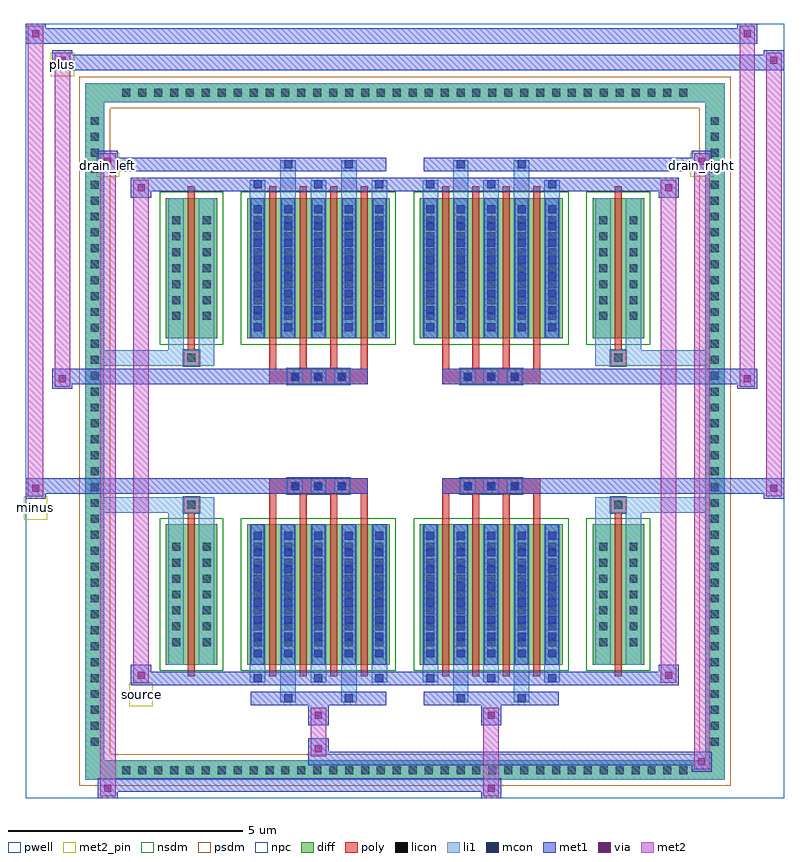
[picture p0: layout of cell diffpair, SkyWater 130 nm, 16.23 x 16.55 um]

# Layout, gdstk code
import gdstk
lib = gdstk.Library(unit=1e-6, precision=5e-09)
def R(c, l, rs):  # rectangles x0, y0, x1, y1
    for r in rs: c.add(gdstk.rectangle(r[:2], r[2:], *l))
def A(c, l, x, y, w, h, nx, ny, dx, dy):  # array of equal rectangles
    R(c, l, [(x+i*dx, y+j*dy, x+i*dx+w, y+j*dy+h) for i in range(nx) for j in range(ny)])
def P(c, l, *ps):  # polygons
    for p in ps: c.add(gdstk.Polygon(p, *l))
pwell = (64, 44)
diff = (65, 20)
poly = (66, 20)
licon = (66, 44)
li1 = (67, 20)
mcon = (67, 44)
met1 = (68, 20)
via = (68, 44)
met2_pin = (69, 16)
met2 = (69, 20)
nsdm = (93, 44)
psdm = (94, 20)
npc = (95, 20)

diffpair = lib.new_cell('diffpair')
R(diffpair, pwell, [(-8.1,-7.84,8.1,8.71), (-5.42,-6.03,-0.01,-0.805), (0.01,-6.03,5.42,-0.805), (-5.42,0.805,-0.01,6.03), (0.01,0.805,5.42,6.03)])
A(diffpair, diff, -6.155, -7.44, 0.41, 0.41, 36, 2, 0.34, 14.47)
A(diffpair, diff, -6.83, -6.835, 0.41, 0.41, 1, 40, 0, 0.34)
A(diffpair, diff, 6.42, -6.835, 0.41, 0.41, 1, 40, 0, 0.34)
R(diffpair, diff, [(-6.155,-7.44,6.155,-7.03), (-6.83,-6.835,-6.42,6.835), (6.42,-6.835,6.83,6.835), (-5.11,-4.985,-4.01,-1.985), (-3.37,-4.985,-0.32,-1.985), (0.32,-4.985,3.37,-1.985), (4.01,-4.985,5.11,-1.985), (-5.11,1.985,-4.01,4.985), (-3.37,1.985,-0.32,4.985), (0.32,1.985,3.37,4.985), (4.01,1.985,5.11,4.985), (-6.155,7.03,6.155,7.44)])
P(diffpair, diff, [(6.83,7.44),(-6.83,7.44),(-6.83,-7.03),(-6.42,-7.03),(-6.42,7.03),(6.42,7.03),(6.42,-7.03),(-6.42,-7.03),(-6.83,-7.03),(-6.83,-7.44),(6.83,-7.44)])
A(diffpair, poly, -2.895, -5.235, 0.15, 3.5, 4, 2, 0.65, 6.97)
A(diffpair, poly, 0.795, -5.235, 0.15, 3.5, 4, 2, 0.65, 6.97)
A(diffpair, poly, -2.895, -1.735, 0.15, 0.4, 4, 2, 0.65, 3.07)
A(diffpair, poly, 0.795, -1.735, 0.15, 0.4, 4, 2, 0.65, 3.07)
A(diffpair, poly, -2.51, -1.335, 0.33, 0.33, 3, 2, 0.5, 2.34)
A(diffpair, poly, 1.18, -1.335, 0.33, 0.33, 3, 2, 0.5, 2.34)
R(diffpair, poly, [(-4.635,-5.235,-4.485,-1.735), (4.485,-5.235,4.635,-1.735), (-4.725,-1.735,-4.395,-1.405), (-4.725,-1.735,-4.395,-1.405), (4.395,-1.735,4.725,-1.405), (4.395,-1.735,4.725,-1.405), (-2.895,-1.335,-0.795,-1.005), (0.795,-1.335,2.895,-1.005), (-2.895,1.005,-0.795,1.335), (0.795,1.005,2.895,1.335), (-4.725,1.405,-4.395,1.735), (-4.725,1.405,-4.395,1.735), (4.395,1.405,4.725,1.735), (4.395,1.405,4.725,1.735), (-4.635,1.735,-4.485,5.235), (4.485,1.735,4.635,5.235)])
A(diffpair, licon, -6.035, -7.32, 0.17, 0.17, 36, 2, 0.34, 14.47)
A(diffpair, licon, -6.71, -6.715, 0.17, 0.17, 1, 40, 0, 0.34)
A(diffpair, licon, 6.54, -6.715, 0.17, 0.17, 1, 40, 0, 0.34)
A(diffpair, licon, -4.97, -4.59, 0.17, 0.17, 1, 7, 0, 0.34)
A(diffpair, licon, -4.32, -4.59, 0.17, 0.17, 1, 7, 0, 0.34)
A(diffpair, licon, -3.23, -4.59, 0.17, 0.17, 5, 7, 0.65, 0.34)
A(diffpair, licon, 0.46, -4.59, 0.17, 0.17, 5, 7, 0.65, 0.34)
A(diffpair, licon, 4.15, -4.59, 0.17, 0.17, 1, 7, 0, 0.34)
A(diffpair, licon, 4.8, -4.59, 0.17, 0.17, 1, 7, 0, 0.34)
A(diffpair, licon, -2.43, -1.255, 0.17, 0.17, 3, 2, 0.5, 2.34)
A(diffpair, licon, 1.26, -1.255, 0.17, 0.17, 3, 2, 0.5, 2.34)
A(diffpair, licon, -4.97, 2.38, 0.17, 0.17, 1, 7, 0, 0.34)
A(diffpair, licon, -4.32, 2.38, 0.17, 0.17, 1, 7, 0, 0.34)
A(diffpair, licon, -3.23, 2.38, 0.17, 0.17, 5, 7, 0.65, 0.34)
A(diffpair, licon, 0.46, 2.38, 0.17, 0.17, 5, 7, 0.65, 0.34)
A(diffpair, licon, 4.15, 2.38, 0.17, 0.17, 1, 7, 0, 0.34)
A(diffpair, licon, 4.8, 2.38, 0.17, 0.17, 1, 7, 0, 0.34)
R(diffpair, licon, [(-4.645,-1.655,-4.475,-1.485), (4.475,-1.655,4.645,-1.485), (-4.645,1.485,-4.475,1.655), (4.475,1.485,4.645,1.655)])
A(diffpair, li1, -6.115, -7.4, 0.33, 0.33, 36, 2, 0.34, 14.47)
A(diffpair, li1, -6.79, -6.795, 0.33, 0.33, 1, 40, 0, 0.34)
A(diffpair, li1, 6.46, -6.795, 0.33, 0.33, 1, 40, 0, 0.34)
A(diffpair, li1, -3.31, -5.36, 0.33, 0.375, 3, 2, 1.3, 10.345)
A(diffpair, li1, -3.23, -5.36, 0.17, 0.17, 3, 2, 1.3, 10.55)
A(diffpair, li1, 0.38, -5.36, 0.33, 0.375, 3, 2, 1.3, 10.345)
A(diffpair, li1, 0.46, -5.36, 0.17, 0.17, 3, 2, 1.3, 10.55)
A(diffpair, li1, -3.31, -4.985, 0.33, 3, 5, 2, 0.65, 6.97)
A(diffpair, li1, 0.38, -4.985, 0.33, 3, 5, 2, 0.65, 6.97)
A(diffpair, li1, -3.23, -4.83, 0.17, 0.17, 5, 8, 0.65, 0.36)
A(diffpair, li1, -3.23, -4.83, 0.17, 2.69, 5, 2, 0.65, 6.97)
A(diffpair, li1, 0.46, -4.83, 0.17, 0.17, 5, 8, 0.65, 0.36)
A(diffpair, li1, 0.46, -4.83, 0.17, 2.69, 5, 2, 0.65, 6.97)
A(diffpair, li1, -5.05, -4.67, 0.33, 0.33, 1, 7, 0, 0.34)
A(diffpair, li1, -4.4, -4.67, 0.33, 0.33, 1, 7, 0, 0.34)
A(diffpair, li1, -3.31, -4.67, 0.33, 0.33, 5, 7, 0.65, 0.34)
A(diffpair, li1, 0.38, -4.67, 0.33, 0.33, 5, 7, 0.65, 0.34)
A(diffpair, li1, 4.07, -4.67, 0.33, 0.33, 1, 7, 0, 0.34)
A(diffpair, li1, 4.72, -4.67, 0.33, 0.33, 1, 7, 0, 0.34)
A(diffpair, li1, -2.51, -1.335, 0.33, 0.33, 3, 2, 0.5, 2.34)
A(diffpair, li1, 1.18, -1.335, 0.33, 0.33, 3, 2, 0.5, 2.34)
A(diffpair, li1, -3.23, 2.14, 0.17, 0.17, 5, 8, 0.65, 0.36)
A(diffpair, li1, 0.46, 2.14, 0.17, 0.17, 5, 8, 0.65, 0.36)
A(diffpair, li1, -5.05, 2.3, 0.33, 0.33, 1, 7, 0, 0.34)
A(diffpair, li1, -4.4, 2.3, 0.33, 0.33, 1, 7, 0, 0.34)
A(diffpair, li1, -3.31, 2.3, 0.33, 0.33, 5, 7, 0.65, 0.34)
A(diffpair, li1, 0.38, 2.3, 0.33, 0.33, 5, 7, 0.65, 0.34)
A(diffpair, li1, 4.07, 2.3, 0.33, 0.33, 1, 7, 0, 0.34)
A(diffpair, li1, 4.72, 2.3, 0.33, 0.33, 1, 7, 0, 0.34)
R(diffpair, li1, [(-6.83,-7.44,-6.42,-7.03), (-6.83,-7.44,-6.42,-7.03), (-6.42,-7.44,6.42,-7.03), (6.42,-7.44,6.83,-7.03), (6.42,-7.44,6.83,-7.03), (-6.83,-7.03,-6.42,7.03), (6.42,-7.03,6.83,7.03), (-2.66,-5.79,-2.33,-4.985), (-2.58,-5.79,-2.41,-5.62), (-1.36,-5.79,-1.03,-4.985), (-1.28,-5.79,-1.11,-5.62), (1.03,-5.79,1.36,-4.985), (1.11,-5.79,1.28,-5.62), (2.33,-5.79,2.66,-4.985), (2.41,-5.79,2.58,-5.62), (-5.05,-4.985,-4.72,-1.985), (-4.4,-4.985,-4.07,-1.985), (4.07,-4.985,4.4,-1.985), (4.72,-4.985,5.05,-1.985), (-5.05,-1.985,-4.72,-1.405), (-4.4,-1.985,-4.07,-1.405), (4.07,-1.985,4.4,-1.405), (4.72,-1.985,5.05,-1.405), (-6.83,-1.735,-4.725,-1.405), (-5.05,-1.735,-4.725,-1.405), (-4.725,-1.735,-4.395,-1.405), (-4.395,-1.735,-4.07,-1.405), (4.07,-1.735,4.395,-1.405), (4.395,-1.735,4.725,-1.405), (4.395,-1.735,6.83,-1.405), (4.725,-1.735,5.05,-1.405), (-6.83,1.405,-4.725,1.735), (-5.05,1.405,-4.725,1.735), (-5.05,1.405,-4.72,1.985), (-4.725,1.405,-4.395,1.735), (-4.4,1.405,-4.07,1.985), (-4.395,1.405,-4.07,1.735), (4.07,1.405,4.395,1.735), (4.07,1.405,4.4,1.985), (4.395,1.405,4.725,1.735), (4.395,1.405,6.83,1.735), (4.72,1.405,5.05,1.985), (4.725,1.405,5.05,1.735), (-5.05,1.985,-4.72,4.985), (-4.4,1.985,-4.07,4.985), (4.07,1.985,4.4,4.985), (4.72,1.985,5.05,4.985), (-2.66,4.985,-2.33,5.79), (-1.36,4.985,-1.03,5.79), (1.03,4.985,1.36,5.79), (2.33,4.985,2.66,5.79), (-2.58,5.62,-2.41,5.79), (-1.28,5.62,-1.11,5.79), (1.11,5.62,1.28,5.79), (2.41,5.62,2.58,5.79), (-6.83,7.03,-6.42,7.44), (-6.83,7.03,-6.42,7.44), (-6.42,7.03,6.42,7.44), (6.42,7.03,6.83,7.44), (6.42,7.03,6.83,7.44)])
A(diffpair, mcon, -3.23, -5.36, 0.17, 0.17, 3, 2, 1.3, 10.55)
A(diffpair, mcon, 0.46, -5.36, 0.17, 0.17, 3, 2, 1.3, 10.55)
A(diffpair, mcon, -3.23, -4.83, 0.17, 0.17, 5, 8, 0.65, 0.36)
A(diffpair, mcon, 0.46, -4.83, 0.17, 0.17, 5, 8, 0.65, 0.36)
A(diffpair, mcon, -2.43, -1.255, 0.17, 0.17, 3, 2, 0.5, 2.34)
A(diffpair, mcon, 1.26, -1.255, 0.17, 0.17, 3, 2, 0.5, 2.34)
A(diffpair, mcon, -3.23, 2.14, 0.17, 0.17, 5, 8, 0.65, 0.36)
A(diffpair, mcon, 0.46, 2.14, 0.17, 0.17, 5, 8, 0.65, 0.36)
R(diffpair, mcon, [(-2.58,-5.79,-2.41,-5.62), (-1.28,-5.79,-1.11,-5.62), (1.11,-5.79,1.28,-5.62), (2.41,-5.79,2.58,-5.62), (-2.58,5.62,-2.41,5.79), (-1.28,5.62,-1.11,5.79), (1.11,5.62,1.28,5.79), (2.41,5.62,2.58,5.79)])
A(diffpair, met1, -3.29, -5.42, 0.29, 0.29, 3, 2, 1.3, 10.55)
A(diffpair, met1, 0.4, -5.42, 0.29, 0.29, 3, 2, 1.3, 10.55)
A(diffpair, met1, -3.29, -4.985, 0.29, 3, 5, 2, 0.65, 6.97)
A(diffpair, met1, 0.4, -4.985, 0.29, 3, 5, 2, 0.65, 6.97)
A(diffpair, met1, -3.29, -4.89, 0.29, 0.29, 5, 8, 0.65, 0.36)
A(diffpair, met1, 0.4, -4.89, 0.29, 0.29, 5, 8, 0.65, 0.36)
A(diffpair, met1, -2.49, -1.315, 0.29, 0.29, 3, 2, 0.5, 2.34)
A(diffpair, met1, 1.2, -1.315, 0.29, 0.29, 3, 2, 0.5, 2.34)
A(diffpair, met1, -3.29, 2.08, 0.29, 0.29, 5, 8, 0.65, 0.36)
A(diffpair, met1, 0.4, 2.08, 0.29, 0.29, 5, 8, 0.65, 0.36)
R(diffpair, met1, [(-6.56,-7.84,-6.13,-7.41), (1.63,-7.84,2.06,-7.41), (-6.56,-7.7,2.06,-7.41), (6.13,-7.27,6.56,-6.84), (-2.06,-7.13,6.56,-6.84), (-2.06,-6.99,-1.63,-6.56), (-2.06,-6.28,-1.63,-5.85), (1.63,-6.28,2.06,-5.85), (-3.29,-5.85,-0.4,-5.56), (-2.64,-5.85,-2.35,-5.56), (-1.34,-5.85,-1.05,-5.56), (0.4,-5.85,3.29,-5.56), (1.05,-5.85,1.34,-5.56), (2.35,-5.85,2.64,-5.56), (-5.85,-5.42,-5.42,-4.99), (-5.85,-5.42,-3.29,-5.13), (-3.29,-5.42,-0.4,-5.13), (-0.4,-5.42,0.4,-5.13), (0.4,-5.42,3.29,-5.13), (3.29,-5.42,5.85,-5.13), (5.42,-5.42,5.85,-4.99), (-8.1,-1.435,-7.67,-1.005), (7.67,-1.435,8.1,-1.005), (-8.1,-1.335,-0.795,-1.005), (-2.895,-1.335,-0.795,-1.005), (0.795,-1.335,2.895,-1.005), (0.795,-1.335,8.1,-1.005), (-7.53,0.905,-7.1,1.335), (7.1,0.905,7.53,1.335), (-7.53,1.005,-2.895,1.335), (-2.895,1.005,-0.795,1.335), (0.795,1.005,2.895,1.335), (2.895,1.005,7.53,1.335), (-5.85,4.99,-5.42,5.42), (5.42,4.99,5.85,5.42), (-5.85,5.13,-3.29,5.42), (-3.29,5.13,-0.4,5.42), (-0.4,5.13,0.4,5.42), (0.4,5.13,3.29,5.42), (3.29,5.13,5.85,5.42), (-6.56,5.56,-6.13,5.99), (-6.56,5.56,-3.29,5.85), (-3.29,5.56,-0.4,5.85), (-2.64,5.56,-2.35,5.85), (-1.34,5.56,-1.05,5.85), (0.4,5.56,3.29,5.85), (1.05,5.56,1.34,5.85), (2.35,5.56,2.64,5.85), (3.29,5.56,6.56,5.85), (6.13,5.56,6.56,5.99), (-7.53,7.71,-7.1,8.14), (-7.53,7.71,-5.42,8.04), (-5.42,7.71,5.42,8.04), (5.42,7.71,8.1,8.04), (7.67,7.71,8.1,8.14), (-8.1,8.28,-7.67,8.71), (-8.1,8.28,-5.42,8.61), (-5.42,8.28,5.42,8.61), (5.42,8.28,7.53,8.61), (7.1,8.28,7.53,8.71)])
R(diffpair, via, [(-6.42,-7.7,-6.27,-7.55), (1.77,-7.7,1.92,-7.55), (6.27,-7.13,6.42,-6.98), (-1.92,-6.85,-1.77,-6.7), (-1.92,-6.14,-1.77,-5.99), (1.77,-6.14,1.92,-5.99), (-5.71,-5.28,-5.56,-5.13), (5.56,-5.28,5.71,-5.13), (-7.96,-1.295,-7.81,-1.145), (7.81,-1.295,7.96,-1.145), (-7.39,1.045,-7.24,1.195), (7.24,1.045,7.39,1.195), (-5.71,5.13,-5.56,5.28), (5.56,5.13,5.71,5.28), (-6.42,5.7,-6.27,5.85), (6.27,5.7,6.42,5.85), (-7.39,7.85,-7.24,8), (7.81,7.85,7.96,8), (-7.96,8.42,-7.81,8.57), (7.24,8.42,7.39,8.57)])
R(diffpair, met2_pin, [(-5.885,-5.87,-5.385,-5.37), (-8.135,-1.885,-7.635,-1.385), (-6.595,5.44,-6.095,5.94), (6.095,5.44,6.595,5.94), (-7.565,7.59,-7.065,8.09)])
R(diffpair, met2, [(-6.51,-7.79,-6.18,-7.46), (-6.51,-7.79,-6.18,5.94), (1.68,-7.79,2.01,-7.46), (1.68,-7.46,2.01,-6.23), (6.18,-7.22,6.51,-6.89), (6.18,-7.22,6.51,5.94), (-2.01,-6.94,-1.68,-6.61), (-2.01,-6.61,-1.68,-6.23), (-2.01,-6.23,-1.68,-5.9), (1.68,-6.23,2.01,-5.9), (-5.8,-5.37,-5.47,-5.04), (-5.8,-5.37,-5.47,5.37), (5.47,-5.37,5.8,-5.04), (5.47,-5.37,5.8,5.37), (-8.05,-1.385,-7.72,-1.055), (-8.05,-1.385,-7.72,8.66), (7.72,-1.385,8.05,-1.055), (7.72,-1.385,8.05,8.09), (-7.48,0.955,-7.15,1.285), (-7.48,0.955,-7.15,8.09), (7.15,0.955,7.48,1.285), (7.15,0.955,7.48,8.66), (-5.8,5.04,-5.47,5.37), (5.47,5.04,5.8,5.37), (-6.51,5.61,-6.18,5.94), (6.18,5.61,6.51,5.94), (-7.48,7.76,-7.15,8.09), (7.72,7.76,8.05,8.09), (-8.05,8.33,-7.72,8.66), (7.15,8.33,7.48,8.66)])
P(diffpair, met2, [(8.05,-1.385),(8.05,-1.385),(8.05,-1.055),(8.05,-1.055)],
  [(8.05,7.76),(8.05,7.76),(8.05,8.09),(8.05,8.09)],
  [(-7.72,-1.385),(-7.72,-1.385),(-7.72,-1.055),(-7.72,-1.055)],
  [(-7.72,8.33),(-7.72,8.33),(-7.72,8.66),(-7.72,8.66)],
  [(7.48,0.955),(7.48,0.955),(7.48,1.285),(7.48,1.285)],
  [(7.48,8.33),(7.48,8.33),(7.48,8.66),(7.48,8.66)],
  [(-7.15,0.955),(-7.15,0.955),(-7.15,1.285),(-7.15,1.285)],
  [(-7.15,7.76),(-7.15,7.76),(-7.15,8.09),(-7.15,8.09)],
  [(-6.18,-7.79),(-6.18,-7.79),(-6.18,-7.46),(-6.18,-7.46)],
  [(-6.18,5.61),(-6.18,5.61),(-6.18,5.94),(-6.18,5.94)],
  [(6.51,-7.22),(6.51,-7.22),(6.51,-6.89),(6.51,-6.89)],
  [(6.51,5.61),(6.51,5.61),(6.51,5.94),(6.51,5.94)],
  [(-5.47,-5.37),(-5.47,-5.37),(-5.47,-5.04),(-5.47,-5.04)],
  [(-5.47,5.04),(-5.47,5.04),(-5.47,5.37),(-5.47,5.37)],
  [(5.8,-5.37),(5.8,-5.37),(5.8,-5.04),(5.8,-5.04)],
  [(5.8,5.04),(5.8,5.04),(5.8,5.37),(5.8,5.37)])
R(diffpair, nsdm, [(-5.24,-5.115,-3.88,-1.855), (-3.5,-5.115,-0.19,-1.855), (0.19,-5.115,3.5,-1.855), (3.88,-5.115,5.24,-1.855), (-5.24,1.855,-3.88,5.115), (-3.5,1.855,-0.19,5.115), (0.19,1.855,3.5,5.115), (3.88,1.855,5.24,5.115)])
P(diffpair, psdm, [(6.96,7.57),(-6.96,7.57),(-6.96,-6.9),(-6.29,-6.9),(-6.29,6.9),(6.29,6.9),(6.29,-6.9),(-6.29,-6.9),(-6.96,-6.9),(-6.96,-7.57),(6.96,-7.57)])
A(diffpair, npc, -2.53, -1.355, 0.37, 0.37, 3, 2, 0.5, 2.34)
A(diffpair, npc, 1.16, -1.355, 0.37, 0.37, 3, 2, 0.5, 2.34)
R(diffpair, npc, [(-4.745,-1.755,-4.375,-1.385), (4.375,-1.755,4.745,-1.385), (-2.53,-1.355,-1.66,-0.985), (-2.53,-1.355,-1.66,-0.985), (-2.03,-1.355,-1.16,-0.985), (-2.03,-1.355,-1.16,-0.985), (1.16,-1.355,2.03,-0.985), (1.16,-1.355,2.03,-0.985), (1.66,-1.355,2.53,-0.985), (1.66,-1.355,2.53,-0.985), (-2.53,0.985,-1.66,1.355), (-2.53,0.985,-1.66,1.355), (-2.03,0.985,-1.16,1.355), (-2.03,0.985,-1.16,1.355), (1.16,0.985,2.03,1.355), (1.16,0.985,2.03,1.355), (1.66,0.985,2.53,1.355), (1.66,0.985,2.53,1.355), (-4.745,1.385,-4.375,1.755), (4.375,1.385,4.745,1.755)])
diffpair.add(gdstk.Label('minus', (-7.885,-1.635), layer=69, texttype=5))
diffpair.add(gdstk.Label('drain_right', (6.345,5.69), layer=69, texttype=5))
diffpair.add(gdstk.Label('drain_left', (-6.345,5.69), layer=69, texttype=5))
diffpair.add(gdstk.Label('source', (-5.635,-5.62), layer=69, texttype=5))
diffpair.add(gdstk.Label('plus', (-7.315,7.84), layer=69, texttype=5))

lib.write_gds('diffpair.gds')
